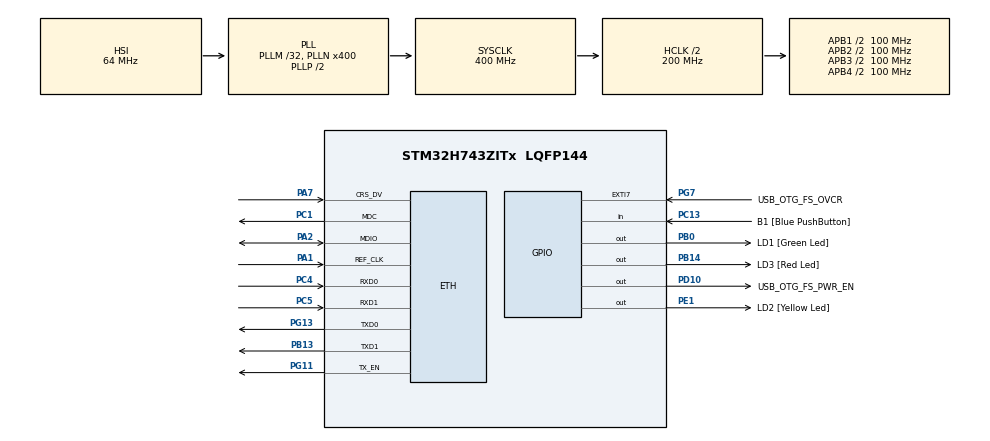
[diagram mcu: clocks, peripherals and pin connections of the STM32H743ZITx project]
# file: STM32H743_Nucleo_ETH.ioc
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CORTEX_M7.AccessPermission_S-Cortex_Memory_Protection_Unit_Region1_Settings_S=MPU_REGION_FULL_ACCESS
CORTEX_M7.AccessPermission_S-Cortex_Memory_Protection_Unit_Region2_Settings_S=MPU_REGION_FULL_ACCESS
CORTEX_M7.BaseAddress_S-Cortex_Memory_Protection_Unit_Region1_Settings_S=0x30020000
CORTEX_M7.BaseAddress_S-Cortex_Memory_Protection_Unit_Region2_Settings_S=0x30040000
CORTEX_M7.CPU_DCache=Enabled
CORTEX_M7.CPU_ICache=Enabled
CORTEX_M7.DisableExec_S-Cortex_Memory_Protection_Unit_Region1_Settings_S=MPU_INSTRUCTION_ACCESS_DISABLE
CORTEX_M7.DisableExec_S-Cortex_Memory_Protection_Unit_Region2_Settings_S=MPU_INSTRUCTION_ACCESS_DISABLE
CORTEX_M7.Enable_S-Cortex_Memory_Protection_Unit_Region1_Settings_S=MPU_REGION_ENABLE
CORTEX_M7.Enable_S-Cortex_Memory_Protection_Unit_Region2_Settings_S=MPU_REGION_ENABLE
CORTEX_M7.IsBufferable_S-Cortex_Memory_Protection_Unit_Region2_Settings_S=MPU_ACCESS_BUFFERABLE
CORTEX_M7.IsShareable_S-Cortex_Memory_Protection_Unit_Region2_Settings_S=MPU_ACCESS_SHAREABLE
CORTEX_M7.Size_S-Cortex_Memory_Protection_Unit_Region1_Settings_S=MPU_REGION_SIZE_128KB
CORTEX_M7.Size_S-Cortex_Memory_Protection_Unit_Region2_Settings_S=MPU_REGION_SIZE_512B
CORTEX_M7.TypeExtField_S-Cortex_Memory_Protection_Unit_Region1_Settings_S=MPU_TEX_LEVEL1
CORTEX_M7.default_mode_Activation=1
ETH.MediaInterface=HAL_ETH_RMII_MODE
ETH.RxBuffLen=1536
ETH.RxDescAddress=0x30040000
ETH.TxDescAddress=0x30040200
FREERTOS.Tasks01=defaultTask,24,3000,StartDefaultTask,Default,NULL,Dynamic,NULL,NULL
FREERTOS.configCHECK_FOR_STACK_OVERFLOW=1
FREERTOS.configMINIMAL_STACK_SIZE=512
FREERTOS.configTOTAL_HEAP_SIZE=65536
FREERTOS.configUSE_NEWLIB_REENTRANT=1
LWIP.BSP.number=1
LWIP.DEFAULT_THREAD_STACKSIZE=2048
LWIP.IP_ADDRESS=192.168.001.010
LWIP.LWIP_DHCP=0
LWIP.LWIP_RAM_HEAP_POINTER=0x30020000
LWIP.LWIP_SO_RCVTIMEO=1
LWIP.MEMP_NUM_UDP_PCB=15
LWIP.MEM_SIZE=131048
LWIP.NETMASK_ADDRESS=255.255.255.000
LWIP.PBUF_POOL_BUFSIZE=592
LWIP.TCPIP_THREAD_STACKSIZE=2048
LWIP.TCP_MSS=1460
LWIP.TCP_SND_BUF=5840
LWIP.TCP_SND_QUEUELEN=16
LWIP.Version=v2.1.2_Cube
LWIP0.BSP.STBoard=false
LWIP0.BSP.api=BSP_COMPONENT_DRIVER
LWIP0.BSP.component=LAN8742
LWIP0.BSP.instance=LAN8742
LWIP0.BSP.name=Driver_PHY
LWIP0.BSP.semaphore=S_LAN8742
LWIP0.BSP.solution=LAN8742
Mcu.Family=STM32H7
Mcu.Name=STM32H743ZITx
Mcu.Package=LQFP144
NVIC.ETH_IRQn=true\:5\:0\:false\:false\:true\:true\:true\:true\:true
NVIC.PriorityGroup=NVIC_PRIORITYGROUP_4
NVIC.TIM6_DAC_IRQn=true\:15\:0\:false\:false\:true\:false\:false\:true\:true
NVIC.TimeBase=TIM6_DAC_IRQn
NVIC.TimeBaseIP=TIM6
PA1.GPIO_Speed=GPIO_SPEED_FREQ_VERY_HIGH
PA1.Mode=RMII
PA1.Signal=ETH_REF_CLK
PA11.Signal=USB_OTG_FS_DM
PA12.Signal=USB_OTG_FS_DP
PA2.GPIO_Speed=GPIO_SPEED_FREQ_VERY_HIGH
PA2.Mode=RMII
PA2.Signal=ETH_MDIO
PA7.GPIO_Speed=GPIO_SPEED_FREQ_VERY_HIGH
PA7.Mode=RMII
PA7.Signal=ETH_CRS_DV
PA8.Signal=USB_OTG_FS_SOF
PA9.Signal=USB_OTG_FS_VBUS
PB0.GPIO_Label=LD1 [Green Led]
PB0.Signal=GPIO_Output
PB13.GPIO_Speed=GPIO_SPEED_FREQ_VERY_HIGH
PB13.Mode=RMII
PB13.Signal=ETH_TXD1
PB14.GPIO_Label=LD3 [Red Led]
PB14.Signal=GPIO_Output
PC1.GPIO_Speed=GPIO_SPEED_FREQ_VERY_HIGH
PC1.Mode=RMII
PC1.Signal=ETH_MDC
PC13.GPIO_Label=B1 [Blue PushButton]
PC13.Signal=GPIO_Input
PC14-OSC32_IN\ (OSC32_IN).Signal=RCC_OSC32_IN
PC15-OSC32_OUT\ (OSC32_OUT).Signal=RCC_OSC32_OUT
PC4.GPIO_Speed=GPIO_SPEED_FREQ_VERY_HIGH
PC4.Mode=RMII
PC4.Signal=ETH_RXD0
PC5.GPIO_Speed=GPIO_SPEED_FREQ_VERY_HIGH
PC5.Mode=RMII
PC5.Signal=ETH_RXD1
PD10.GPIO_Label=USB_OTG_FS_PWR_EN
PD10.Signal=GPIO_Output
PD8.GPIO_Label=STLINK_RX
PD8.Signal=USART3_TX
PD9.GPIO_Label=STLINK_TX
PD9.Signal=USART3_RX
PE1.GPIO_Label=LD2 [Yellow Led]
PE1.Signal=GPIO_Output
PG11.GPIO_Speed=GPIO_SPEED_FREQ_VERY_HIGH
PG11.Mode=RMII
PG11.Signal=ETH_TX_EN
PG13.GPIO_Speed=GPIO_SPEED_FREQ_VERY_HIGH
PG13.Mode=RMII
PG13.Signal=ETH_TXD0
PG7.GPIO_Label=USB_OTG_FS_OVCR
PG7.Signal=GPXTI7
PH0-OSC_IN\ (PH0).Signal=RCC_OSC_IN
PH1-OSC_OUT\ (PH1).Signal=RCC_OSC_OUT
ProjectManager.HeapSize=0x200
ProjectManager.StackSize=0x400
ProjectManager.TargetToolchain=STM32CubeIDE
RCC.ADCFreq_Value=129000000
RCC.APB1Freq_Value=100000000
RCC.APB2Freq_Value=100000000
RCC.APB3Freq_Value=100000000
RCC.APB4Freq_Value=100000000
RCC.CortexFreq_Value=400000000
RCC.D1PPRE=RCC_APB3_DIV2
RCC.D2PPRE1=RCC_APB1_DIV2
RCC.D2PPRE2=RCC_APB2_DIV2
RCC.D3PPRE=RCC_APB4_DIV2
RCC.DIVN1=400
RCC.HCLKFreq_Value=200000000
RCC.HPRE=RCC_HCLK_DIV2
RCC.SYSCLKFreq_VALUE=400000000
RCC.SYSCLKSource=RCC_SYSCLKSOURCE_PLLCLK
RCC.USBFreq_Value=400000000
VP_FREERTOS_VS_CMSIS_V2.Mode=CMSIS_V2
VP_LWIP_VS_Enabled.Mode=Enabled
VP_SYS_VS_tim6.Mode=TIM6
board=NUCLEO-H743ZI2

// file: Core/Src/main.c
/* USER CODE BEGIN Header */
/**
  ******************************************************************************
  * @file           : main.c
  * @brief          : Main program body
  ******************************************************************************
  */
/* USER CODE END Header */
#include "main.h"
#include "cmsis_os.h"
#include "lwip.h"

/* USER CODE BEGIN Includes */
/* micro-ROS用のインクルードを追加 */
#include <rcl/rcl.h>
#include <rcl/error_handling.h>
#include <rclc/rclc.h>
#include <rclc/executor.h>
#include <uxr/client/transport.h>
#include <rmw_microxrcedds_c/config.h>
#include <rmw_microros/rmw_microros.h>

#include <std_msgs/msg/int32.h>
/* USER CODE END Includes */

/* Definitions for defaultTask */
osThreadId_t defaultTaskHandle;
const osThreadAttr_t defaultTask_attributes = {
  .name = "defaultTask",
  .stack_size = 3000 * 4,
  .priority = (osPriority_t) osPriorityNormal,
};

void SystemClock_Config(void);
static void MPU_Config(void);
static void MX_GPIO_Init(void);
void StartDefaultTask(void *argument);

/* USER CODE BEGIN PFP */
/* micro-ROS カスタムトランスポート関数の宣言 */
bool cubemx_transport_open(struct uxrCustomTransport * tr);
bool cubemx_transport_close(struct uxrCustomTransport * tr);
size_t cubemx_transport_write(struct uxrCustomTransport* tr, const uint8_t * buf, size_t len, uint8_t * err);
size_t cubemx_transport_read(struct uxrCustomTransport* tr, uint8_t* buf, size_t len, int timeout, uint8_t* err);

/* micro-ROS メモリ割り当て関数の宣言 */
void * microros_allocate(size_t size, void * state);
void microros_deallocate(void * ptr, void * state);
void * microros_reallocate(void * ptr, size_t n, void * state);
void * microros_zero_allocate(size_t n, size_t size, void * state);
/* USER CODE END PFP */

int main(void)
{

  /* MPU Configuration--------------------------------------------------------*/
  MPU_Config();

  /* Enable I-Cache---------------------------------------------------------*/
//  SCB_EnableICache();

  /* Enable D-Cache---------------------------------------------------------*/
//  SCB_EnableDCache();

  /* MCU Configuration--------------------------------------------------------*/

  /* Reset of all peripherals, Initializes the Flash interface and the Systick. */
  HAL_Init();

  /* Configure the system clock */
  SystemClock_Config();

  /* Initialize all configured peripherals */
  MX_GPIO_Init();

  /* Init scheduler */
  osKernelInitialize();

  /* Create the thread(s) */
  /* creation of defaultTask */
  defaultTaskHandle = osThreadNew(StartDefaultTask, NULL, &defaultTask_attributes);

  /* Start scheduler */
  osKernelStart();

  /* We should never get here as control is now taken by the scheduler */
  /* Infinite loop */
  while (1)
  {

  }
}

void SystemClock_Config(void)
{
  RCC_OscInitTypeDef RCC_OscInitStruct = {0};
  RCC_ClkInitTypeDef RCC_ClkInitStruct = {0};

  /** Supply configuration update enable
  */
  HAL_PWREx_ConfigSupply(PWR_LDO_SUPPLY);

  /** Configure the main internal regulator output voltage
  */
  __HAL_PWR_VOLTAGESCALING_CONFIG(PWR_REGULATOR_VOLTAGE_SCALE1);

  while(!__HAL_PWR_GET_FLAG(PWR_FLAG_VOSRDY)) {}

  /** Initializes the RCC Oscillators according to the specified parameters
  * in the RCC_OscInitTypeDef structure.
  */
  RCC_OscInitStruct.OscillatorType = RCC_OSCILLATORTYPE_HSI;
  RCC_OscInitStruct.HSIState = RCC_HSI_DIV1;
  RCC_OscInitStruct.HSICalibrationValue = RCC_HSICALIBRATION_DEFAULT;
  RCC_OscInitStruct.PLL.PLLState = RCC_PLL_ON;
  RCC_OscInitStruct.PLL.PLLSource = RCC_PLLSOURCE_HSI;
  RCC_OscInitStruct.PLL.PLLM = 32;
  RCC_OscInitStruct.PLL.PLLN = 400;
  RCC_OscInitStruct.PLL.PLLP = 2;
  RCC_OscInitStruct.PLL.PLLQ = 2;
  RCC_OscInitStruct.PLL.PLLR = 2;
  RCC_OscInitStruct.PLL.PLLRGE = RCC_PLL1VCIRANGE_1;
  RCC_OscInitStruct.PLL.PLLVCOSEL = RCC_PLL1VCOWIDE;
  RCC_OscInitStruct.PLL.PLLFRACN = 0;
  if (HAL_RCC_OscConfig(&RCC_OscInitStruct) != HAL_OK)
  {
    Error_Handler();
  }

  /** Initializes the CPU, AHB and APB buses clocks
  */
  RCC_ClkInitStruct.ClockType = RCC_CLOCKTYPE_HCLK|RCC_CLOCKTYPE_SYSCLK
                              |RCC_CLOCKTYPE_PCLK1|RCC_CLOCKTYPE_PCLK2
                              |RCC_CLOCKTYPE_D3PCLK1|RCC_CLOCKTYPE_D1PCLK1;
  RCC_ClkInitStruct.SYSCLKSource = RCC_SYSCLKSOURCE_PLLCLK;
  RCC_ClkInitStruct.SYSCLKDivider = RCC_SYSCLK_DIV1;
  RCC_ClkInitStruct.AHBCLKDivider = RCC_HCLK_DIV2;
  RCC_ClkInitStruct.APB3CLKDivider = RCC_APB3_DIV2;
  RCC_ClkInitStruct.APB1CLKDivider = RCC_APB1_DIV2;
  RCC_ClkInitStruct.APB2CLKDivider = RCC_APB2_DIV2;
  RCC_ClkInitStruct.APB4CLKDivider = RCC_APB4_DIV2;

  if (HAL_RCC_ClockConfig(&RCC_ClkInitStruct, FLASH_LATENCY_2) != HAL_OK)
  {
    Error_Handler();
  }
}

static void MX_GPIO_Init(void)
{
  GPIO_InitTypeDef GPIO_InitStruct = {0};

  /* GPIO Ports Clock Enable */
  __HAL_RCC_GPIOC_CLK_ENABLE();
  __HAL_RCC_GPIOH_CLK_ENABLE();
  __HAL_RCC_GPIOA_CLK_ENABLE();
  __HAL_RCC_GPIOB_CLK_ENABLE();
  __HAL_RCC_GPIOD_CLK_ENABLE();
  __HAL_RCC_GPIOG_CLK_ENABLE();
  __HAL_RCC_GPIOE_CLK_ENABLE();

  /*Configure GPIO pin Output Level */
  HAL_GPIO_WritePin(GPIOB, LD1_Pin|LD3_Pin, GPIO_PIN_RESET);

  /*Configure GPIO pin Output Level */
  HAL_GPIO_WritePin(USB_OTG_FS_PWR_EN_GPIO_Port, USB_OTG_FS_PWR_EN_Pin, GPIO_PIN_RESET);

  /*Configure GPIO pin Output Level */
  HAL_GPIO_WritePin(LD2_GPIO_Port, LD2_Pin, GPIO_PIN_RESET);

  /*Configure GPIO pin : B1_Pin */
  GPIO_InitStruct.Pin = B1_Pin;
  GPIO_InitStruct.Mode = GPIO_MODE_INPUT;
  GPIO_InitStruct.Pull = GPIO_NOPULL;
  HAL_GPIO_Init(B1_GPIO_Port, &GPIO_InitStruct);

  /*Configure GPIO pins : LD1_Pin LD3_Pin */
  GPIO_InitStruct.Pin = LD1_Pin|LD3_Pin;
  GPIO_InitStruct.Mode = GPIO_MODE_OUTPUT_PP;
  GPIO_InitStruct.Pull = GPIO_NOPULL;
  GPIO_InitStruct.Speed = GPIO_SPEED_FREQ_LOW;
  HAL_GPIO_Init(GPIOB, &GPIO_InitStruct);

  /*Configure GPIO pins : STLINK_RX_Pin STLINK_TX_Pin */
  GPIO_InitStruct.Pin = STLINK_RX_Pin|STLINK_TX_Pin;
  GPIO_InitStruct.Mode = GPIO_MODE_AF_PP;
  GPIO_InitStruct.Pull = GPIO_NOPULL;
  GPIO_InitStruct.Speed = GPIO_SPEED_FREQ_LOW;
  GPIO_InitStruct.Alternate = GPIO_AF7_USART3;
  HAL_GPIO_Init(GPIOD, &GPIO_InitStruct);

  /*Configure GPIO pin : USB_OTG_FS_PWR_EN_Pin */
  GPIO_InitStruct.Pin = USB_OTG_FS_PWR_EN_Pin;
  GPIO_InitStruct.Mode = GPIO_MODE_OUTPUT_PP;
  GPIO_InitStruct.Pull = GPIO_NOPULL;
  GPIO_InitStruct.Speed = GPIO_SPEED_FREQ_LOW;
  HAL_GPIO_Init(USB_OTG_FS_PWR_EN_GPIO_Port, &GPIO_InitStruct);

  /*Configure GPIO pin : USB_OTG_FS_OVCR_Pin */
  GPIO_InitStruct.Pin = USB_OTG_FS_OVCR_Pin;
  GPIO_InitStruct.Mode = GPIO_MODE_IT_RISING;
  GPIO_InitStruct.Pull = GPIO_NOPULL;
  HAL_GPIO_Init(USB_OTG_FS_OVCR_GPIO_Port, &GPIO_InitStruct);

  /*Configure GPIO pins : PA8 PA11 PA12 */
  GPIO_InitStruct.Pin = GPIO_PIN_8|GPIO_PIN_11|GPIO_PIN_12;
  GPIO_InitStruct.Mode = GPIO_MODE_AF_PP;
  GPIO_InitStruct.Pull = GPIO_NOPULL;
  GPIO_InitStruct.Speed = GPIO_SPEED_FREQ_LOW;
  GPIO_InitStruct.Alternate = GPIO_AF10_OTG1_FS;
  HAL_GPIO_Init(GPIOA, &GPIO_InitStruct);

  /*Configure GPIO pin : LD2_Pin */
  GPIO_InitStruct.Pin = LD2_Pin;
  GPIO_InitStruct.Mode = GPIO_MODE_OUTPUT_PP;
  GPIO_InitStruct.Pull = GPIO_NOPULL;
  GPIO_InitStruct.Speed = GPIO_SPEED_FREQ_LOW;
  HAL_GPIO_Init(LD2_GPIO_Port, &GPIO_InitStruct);

}

void StartDefaultTask(void *argument)
{
  /* init code for LWIP */
  MX_LWIP_Init();
  /* USER CODE BEGIN 5 */

  // ネットワークのリンクアップ（安定）を少し待つためのディレイ
  osDelay(2000);

  // micro-ROS configuration

  rmw_uros_set_custom_transport(
    false,              //Framing disable here. Udp should Use Packet-oriented mode.
    "192.168.1.100",    // ★Ubuntu PC(Agent)のIPアドレス。以前のお話に合わせて変更しました。
    cubemx_transport_open,
    cubemx_transport_close,
    cubemx_transport_write,
    cubemx_transport_read);

  rcl_allocator_t freeRTOS_allocator = rcutils_get_zero_initialized_allocator();
  freeRTOS_allocator.allocate = microros_allocate;
  freeRTOS_allocator.deallocate = microros_deallocate;
  freeRTOS_allocator.reallocate = microros_reallocate;
  freeRTOS_allocator.zero_allocate =  microros_zero_allocate;

  if (!rcutils_set_default_allocator(&freeRTOS_allocator)) {
      printf("Error on default allocators (line %d)\n", __LINE__);
  }

  // micro-ROS app

  rcl_publisher_t publisher;
  std_msgs__msg__Int32 msg;
  rclc_support_t support;
  rcl_allocator_t allocator;
  rcl_node_t node;

  allocator = rcl_get_default_allocator();

  //create init_options
  rclc_support_init(&support, 0, NULL, &allocator);

  // create node
  rclc_node_init_default(&node, "cubemx_node", "", &support);

  // create publisher
  rclc_publisher_init_default(
    &publisher,
    &node,
    ROSIDL_GET_MSG_TYPE_SUPPORT(std_msgs, msg, Int32),
    "cubemx_publisher");

  msg.data = 0;

  for(;;)
  {
    rcl_ret_t ret = rcl_publish(&publisher, &msg, NULL);
    if (ret != RCL_RET_OK)
    {
      printf("Error publishing (line %d)\n", __LINE__);
    }

    msg.data++;

    // NUCLEOボード上のLED(緑:LD1/B1や青:LD2など)をトグルして動作確認
    HAL_GPIO_TogglePin(GPIOB, GPIO_PIN_0);

    // 送信頻度の調整（10msだとネットワーク負荷が高すぎるため、一旦100ms(10Hz)にしています）
    osDelay(100);
  }
  /* USER CODE END 5 */
}

/* MPU Configuration */

void MPU_Config(void)
{
  MPU_Region_InitTypeDef MPU_InitStruct = {0};

  /* Disables the MPU */
  HAL_MPU_Disable();

  /** Initializes and configures the Region and the memory to be protected
  */
  MPU_InitStruct.Enable = MPU_REGION_ENABLE;
  MPU_InitStruct.Number = MPU_REGION_NUMBER0;
  MPU_InitStruct.BaseAddress = 0x0;
  MPU_InitStruct.Size = MPU_REGION_SIZE_4GB;
  MPU_InitStruct.SubRegionDisable = 0x87;
  MPU_InitStruct.TypeExtField = MPU_TEX_LEVEL0;
  MPU_InitStruct.AccessPermission = MPU_REGION_NO_ACCESS;
  MPU_InitStruct.DisableExec = MPU_INSTRUCTION_ACCESS_DISABLE;
  MPU_InitStruct.IsShareable = MPU_ACCESS_SHAREABLE;
  MPU_InitStruct.IsCacheable = MPU_ACCESS_NOT_CACHEABLE;
  MPU_InitStruct.IsBufferable = MPU_ACCESS_NOT_BUFFERABLE;

  HAL_MPU_ConfigRegion(&MPU_InitStruct);

  /** Initializes and configures the Region and the memory to be protected
  */
  MPU_InitStruct.Number = MPU_REGION_NUMBER1;
  MPU_InitStruct.BaseAddress = 0x30020000;
  MPU_InitStruct.Size = MPU_REGION_SIZE_128KB;
  MPU_InitStruct.SubRegionDisable = 0x0;
  MPU_InitStruct.TypeExtField = MPU_TEX_LEVEL1;
  MPU_InitStruct.AccessPermission = MPU_REGION_FULL_ACCESS;
  MPU_InitStruct.IsShareable = MPU_ACCESS_NOT_SHAREABLE;

  HAL_MPU_ConfigRegion(&MPU_InitStruct);

  /** Initializes and configures the Region and the memory to be protected
  */
  MPU_InitStruct.Number = MPU_REGION_NUMBER2;
  MPU_InitStruct.BaseAddress = 0x30040000;
  MPU_InitStruct.Size = MPU_REGION_SIZE_512B;
  MPU_InitStruct.TypeExtField = MPU_TEX_LEVEL0;
  MPU_InitStruct.IsShareable = MPU_ACCESS_SHAREABLE;
  MPU_InitStruct.IsBufferable = MPU_ACCESS_BUFFERABLE;

  HAL_MPU_ConfigRegion(&MPU_InitStruct);
  /* Enables the MPU */
  HAL_MPU_Enable(MPU_PRIVILEGED_DEFAULT);

}

void HAL_TIM_PeriodElapsedCallback(TIM_HandleTypeDef *htim)
{
  if (htim->Instance == TIM6) {
    HAL_IncTick();
  }
}

void Error_Handler(void)
{
  __disable_irq();
  while (1)
  {
  }
}

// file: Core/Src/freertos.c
/* USER CODE BEGIN Header */
/**
  ******************************************************************************
  * File Name          : freertos.c
  * Description        : Code for freertos applications
  ******************************************************************************
  * @attention
  *
  * Copyright (c) 2022 STMicroelectronics.
  * All rights reserved.
  *
  * This software is licensed under terms that can be found in the LICENSE file
  * in the root directory of this software component.
  * If no LICENSE file comes with this software, it is provided AS-IS.
  *
  ******************************************************************************
  */
/* USER CODE END Header */

#include "FreeRTOS.h"
#include "task.h"
#include "main.h"

/* Hook prototypes */
void vApplicationStackOverflowHook(xTaskHandle xTask, signed char *pcTaskName);

/* USER CODE BEGIN 4 */
void vApplicationStackOverflowHook(xTaskHandle xTask, signed char *pcTaskName)
{
   /* ETH_CODE: add breakpoint when stack oveflow is detected by FreeRTOS.
    * Useful for debugging issues.
    */
   __BKPT(0);
}
/* USER CODE END 4 */
